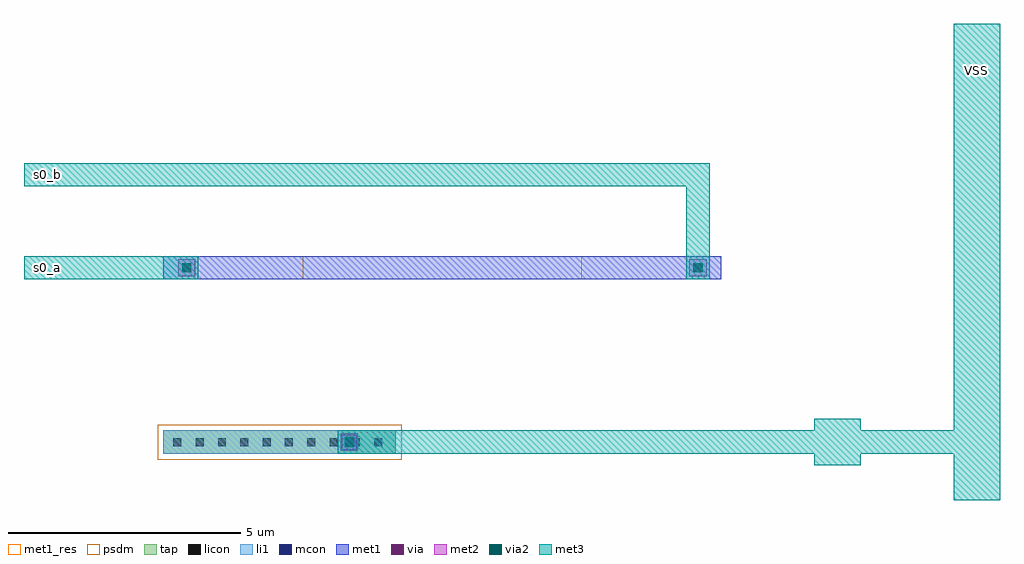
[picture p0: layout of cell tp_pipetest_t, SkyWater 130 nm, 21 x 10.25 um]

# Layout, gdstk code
import gdstk
lib = gdstk.Library(unit=1e-6, precision=1e-09)
def R(c, l, rs):  # rectangles x0, y0, x1, y1
    for r in rs: c.add(gdstk.rectangle(r[:2], r[2:], *l))
def A(c, l, x, y, w, h, nx, ny, dx, dy):  # array of equal rectangles
    R(c, l, [(x+i*dx, y+j*dy, x+i*dx+w, y+j*dy+h) for i in range(nx) for j in range(ny)])
tap = (65, 44)
licon = (66, 44)
li1 = (67, 20)
mcon = (67, 44)
met1_res = (68, 13)
met1 = (68, 20)
via = (68, 44)
met2 = (69, 20)
via2 = (69, 44)
met3 = (70, 20)
psdm = (94, 20)

tp_pipetest = lib.new_cell('tp_pipetest')
R(tp_pipetest, tap, [(3,1,8,1.5)])
A(tp_pipetest, licon, 3.215, 1.165, 0.17, 0.17, 10, 1, 0.48, 0)
R(tp_pipetest, li1, [(3,1,8,1.5), (6.875,1.125,7.125,1.375)])
R(tp_pipetest, mcon, [(6.915,1.165,7.085,1.335)])
R(tp_pipetest, met1_res, [(6,4.75,12,5.25)])
R(tp_pipetest, met1, [(6.84,1.09,7.16,1.41), (6.85,1.1,7.15,1.4), (3,4.75,15,5.25), (3.34,4.84,3.66,5.16), (14.34,4.84,14.66,5.16)])
R(tp_pipetest, via, [(6.925,1.175,7.075,1.325), (3.425,4.925,3.575,5.075), (14.425,4.925,14.575,5.075)])
R(tp_pipetest, met2, [(6.815,1.065,7.185,1.435), (6.84,1.09,7.16,1.41), (3.315,4.815,3.685,5.185), (14.315,4.815,14.685,5.185), (3.34,4.84,3.66,5.16), (14.34,4.84,14.66,5.16)])
R(tp_pipetest, via2, [(6.9,1.15,7.1,1.35), (3.4,4.9,3.6,5.1), (14.4,4.9,14.6,5.1)])
R(tp_pipetest, met3, [(17,0.75,18,1.75), (6.75,1,7.25,1.5), (6.75,1,18,1.5), (0,4.75,3.75,5.25), (0,4.75,1,5.25), (3.25,4.75,3.75,5.25), (14.25,4.75,14.75,5.25), (14.25,4.75,14.75,7.25), (0,6.75,1,7.25), (0,6.75,14.75,7.25)])
R(tp_pipetest, psdm, [(2.875,0.875,8.125,1.625)])

tp_pipetest_t = lib.new_cell('tp_pipetest_t')
R(tp_pipetest_t, met3, [(20,0,21,10.25), (18,1,21,1.5)])
tp_pipetest_t.add(gdstk.Reference(tp_pipetest, (0,0)))
tp_pipetest_t.add(gdstk.Label('s0_a', (0.5,5), layer=70, texttype=5))
tp_pipetest_t.add(gdstk.Label('s0_b', (0.5,7), layer=70, texttype=5))
tp_pipetest_t.add(gdstk.Label('VSS', (20.5,9.25), layer=70, texttype=5))

lib.write_gds('tp_pipetest_t.gds')
